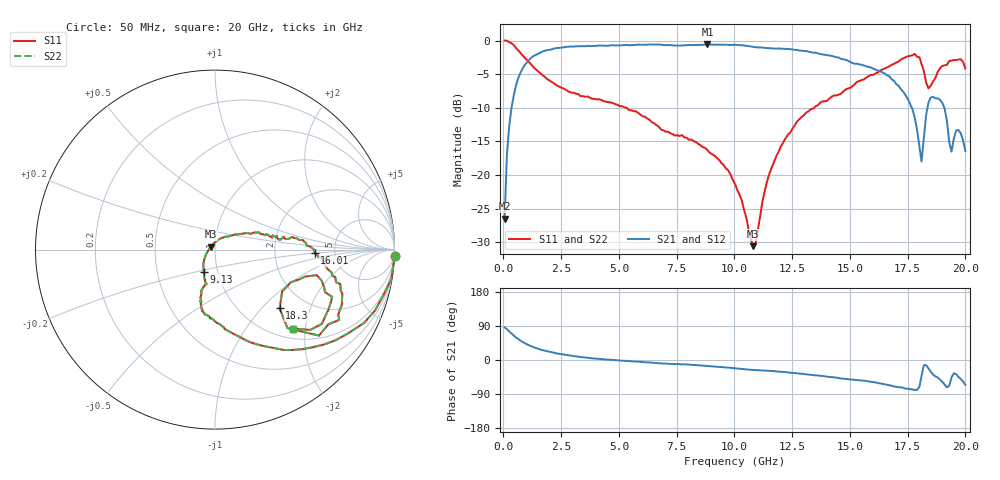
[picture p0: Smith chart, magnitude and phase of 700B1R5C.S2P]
!  American Technical Ceramics  Date:  3/13/98
!  One Norden Lane
!  Huntington Station,  NY.  11746-2102
!  Tel:  (516) 547-5700  Fax:  (516) 547-5748
!  Part Number  700B1R5C
!  Description: Porcelain, High Q, Low ESR
!  Application: Bypass, Coupling, Timing, Feedback
!  Tuning, Impedance Match, Blocking
# GHZ S DB R 50
! Freq  |S11|  S11 Ph  |S21|  S21 Ph  |S12|  S12 Ph  |S22|  S22 Ph
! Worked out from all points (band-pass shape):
!   201 points, 50 MHz to 20 GHz, reference 50 ohm
!   highest |S21| = -0.57 dB at 8.83 GHz (marker M1); lowest = -26.5 dB at 50 MHz (marker M2)
!   |S21| within 3 dB of the highest: 940.2 MHz to 15.45 GHz (14.51 GHz wide, 177 % of centre)
!   lowest |S11| = -30.6 dB at 10.82 GHz (marker M3), VSWR 1.06, Z = 47.6 + j1.57 ohm
!   |S11| at or under -10 dB: 5.307 GHz to 13.45 GHz (8.146 GHz wide, 86.8 % of centre)
!   |S22| runs from -30.6 to 0.0 dB; largest |S21 - S12| = 0
!   S11 on the Smith chart (normalised r, x): 50 MHz: -2, -56; 9.13 GHz: 0.86, -0.22; 16.01 GHz: 3.48, -0.20; 18.3 GHz: 1.48, -1.27; 20 GHz: 1.21, -1.72
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0.05  0.01 -2.0  -26.51 85.9  -26.51 85.9  0.01 -2.0
0.15  -0.03 -9.3  -16.97 81.4  -16.97 81.4  -0.03 -9.3
0.25  -0.24 -15.0  -12.71 75.4  -12.71 75.4  -0.24 -15.0
0.75  -1.89 -41.2  -4.70 50.6  -4.70 50.6  -1.89 -41.2
1.75  -5.29 -70.1  -1.55 25.2  -1.55 25.2  -5.29 -70.1
3.44  -8.26 -93.2  -0.84 7.3  -0.84 7.3  -8.26 -93.2
6.73  -12.84 -107.6  -0.59 -8.7  -0.59 -8.7  -12.84 -107.6
8.83  -16.30 -113.4  -0.57 -15.8  -0.57 -15.8  -16.30 -113.4
9.13  -17.12 -116.4  -0.61 -17.2  -0.61 -17.2  -17.12 -116.4
10.03  -21.34 -136.1  -0.62 -21.8  -0.62 -21.8  -21.34 -136.1
10.82  -30.59 146.1  -0.94 -26.2  -0.94 -26.2  -30.59 146.1
11.82  -17.15 37.5  -1.21 -30.4  -1.21 -30.4  -17.15 37.5
13.42  -10.12 14.2  -1.83 -39.8  -1.83 -39.8  -10.12 14.2
16.01  -5.11 -2.1  -4.18 -58.2  -4.18 -58.2  -5.11 -2.1
16.71  -3.84 -10.2  -5.33 -66.8  -5.33 -66.8  -3.84 -10.2
17.71  -2.20 -27.8  -10.22 -78.1  -10.22 -78.1  -2.20 -27.8
18.1  -3.48 -43.1  -18.01 -41.9  -18.01 -41.9  -3.48 -43.1
18.3  -6.26 -42.3  -11.11 -13.6  -11.11 -13.6  -6.26 -42.3
18.9  -4.15 -16.4  -8.83 -52.1  -8.83 -52.1  -4.15 -16.4
19.3  -3.05 -22.0  -15.12 -68.2  -15.12 -68.2  -3.05 -22.0
19.7  -2.83 -33.5  -13.30 -44.5  -13.30 -44.5  -2.83 -33.5
20  -4.16 -45.2  -16.45 -65.6  -16.45 -65.6  -4.16 -45.2
